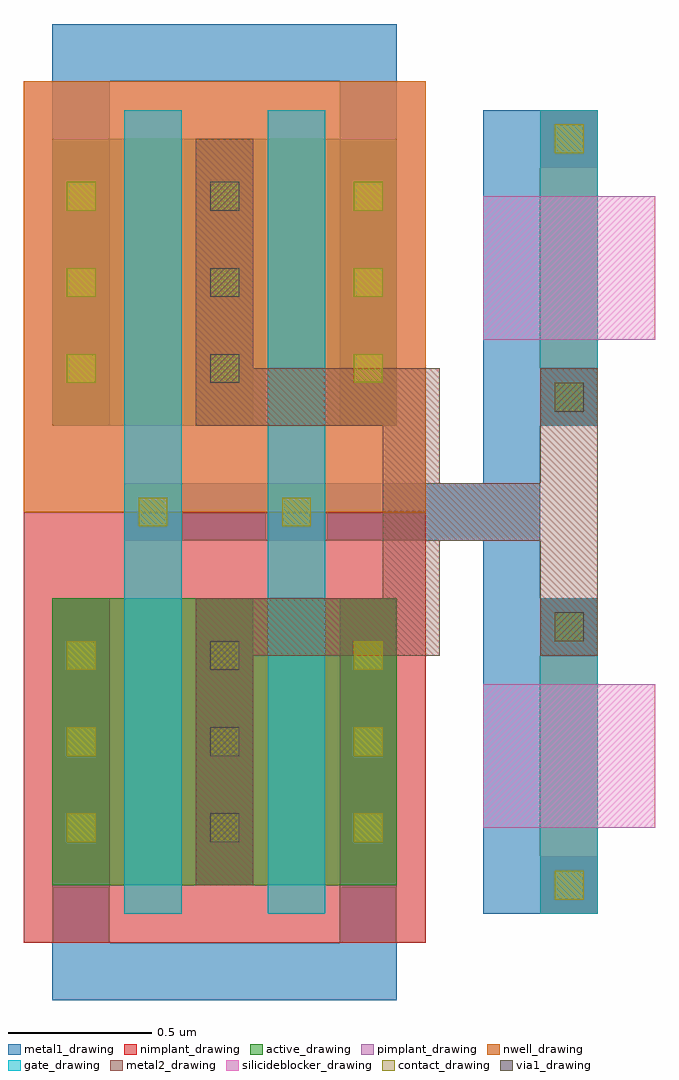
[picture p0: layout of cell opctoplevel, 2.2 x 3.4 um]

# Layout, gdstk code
import gdstk
lib = gdstk.Library(unit=1e-6, precision=1e-09)
def R(c, l, rs):  # rectangles x0, y0, x1, y1
    for r in rs: c.add(gdstk.rectangle(r[:2], r[2:], *l))
def A(c, l, x, y, w, h, nx, ny, dx, dy):  # array of equal rectangles
    R(c, l, [(x+i*dx, y+j*dy, x+i*dx+w, y+j*dy+h) for i in range(nx) for j in range(ny)])
def P(c, l, *ps):  # polygons
    for p in ps: c.add(gdstk.Polygon(p, *l))
active_drawing = (1, 0)
nwell_drawing = (3, 0)
pimplant_drawing = (4, 0)
nimplant_drawing = (5, 0)
gate_drawing = (6, 0)
contact_drawing = (7, 0)
metal1_drawing = (8, 0)
via1_drawing = (9, 0)
metal2_drawing = (10, 0)
silicideblocker_drawing = (28, 0)

opctoplevel = lib.new_cell('opctoplevel')
R(opctoplevel, active_drawing, [(-0.25,0,0.45,1), (0.25,0,0.95,1), (-0.25,1.6,0.45,2.6), (0.25,1.6,0.95,2.6)])
R(opctoplevel, nwell_drawing, [(-0.35,1.3,0.55,2.8), (0.15,1.3,1.05,2.8)])
R(opctoplevel, pimplant_drawing, [(-0.35,1.3,0.55,2.8), (0.15,1.3,1.05,2.8)])
R(opctoplevel, nimplant_drawing, [(-0.35,-0.2,0.55,1.3), (0.15,-0.2,1.05,1.3), (1.45,-0.1,1.65,1), (1.45,1.6,1.65,2.7)])
R(opctoplevel, gate_drawing, [(0,-0.1,0.2,1.4), (0.5,-0.1,0.7,1.4), (1.45,-0.1,1.65,1), (1.45,-0.1,1.65,0.1), (1.45,0.8,1.65,1), (0,1.3,0.2,2.7), (0.5,1.3,0.7,2.7), (1.45,1.6,1.65,2.7), (1.45,1.6,1.65,1.8), (1.45,2.5,1.65,2.7)])
A(opctoplevel, contact_drawing, -0.2, 0.15, 0.1, 0.1, 3, 3, 0.5, 0.3)
A(opctoplevel, contact_drawing, -0.2, 1.75, 0.1, 0.1, 3, 3, 0.5, 0.3)
R(opctoplevel, contact_drawing, [(1.5,-0.05,1.6,0.05), (1.5,0.85,1.6,0.95), (0.05,1.25,0.15,1.35), (0.55,1.25,0.65,1.35), (1.5,1.65,1.6,1.75), (1.5,2.55,1.6,2.65)])
A(opctoplevel, metal1_drawing, -0.25, 0, 0.2, 1, 3, 2, 0.5, 1.6)
R(opctoplevel, metal1_drawing, [(-0.25,-0.4,0.95,-0.2), (-0.25,-0.2,-0.05,0), (0.75,-0.2,0.95,0), (1.45,-0.1,1.65,0.1), (1.45,-0.1,1.65,0.1), (1.45,-0.1,1.65,0.1), (1.45,0.8,1.65,1), (1.45,0.8,1.65,1), (1.45,0.8,1.65,1), (0,1.2,0.2,1.4), (0,1.2,0.7,1.4), (0.5,1.2,0.7,1.4), (1.45,1.6,1.65,1.8), (1.45,1.6,1.65,1.8), (1.45,1.6,1.65,1.8), (1.45,2.5,1.65,2.7), (1.45,2.5,1.65,2.7), (1.45,2.5,1.65,2.7), (-0.25,2.6,-0.05,2.8), (0.75,2.6,0.95,2.8), (-0.25,2.8,0.95,3)])
P(opctoplevel, metal1_drawing, [(0.7,1.2),(1.45,1.2),(1.45,2.7),(1.25,2.7),(1.25,1.4),(0.7,1.4)],
  [(0.7,1.2),(1.25,1.2),(1.25,-0.1),(1.45,-0.1),(1.45,1.4),(0.7,1.4)])
A(opctoplevel, via1_drawing, 0.3, 0.15, 0.1, 0.1, 1, 3, 0, 0.3)
A(opctoplevel, via1_drawing, 0.3, 1.75, 0.1, 0.1, 1, 3, 0, 0.3)
R(opctoplevel, via1_drawing, [(1.5,0.85,1.6,0.95), (1.5,1.65,1.6,1.75)])
R(opctoplevel, metal2_drawing, [(0.25,0,0.45,1), (1.45,0.8,1.65,1), (1.45,1,1.65,1.6), (1.1,1.2,1.65,1.4), (0.25,1.6,0.45,2.6), (1.45,1.6,1.65,1.8)])
R(opctoplevel, silicideblocker_drawing, [(1.25,0.2,1.85,0.7), (1.25,1.9,1.85,2.4)])
opctoplevel.add(gdstk.FlexPath([(0.45,1.7),(1,1.7),(1,0.9),(0.45,0.9)], 0.2, ends="flush", simple_path=True, layer=10, datatype=0))  # metal2_drawing

lib.write_gds('opctoplevel.gds')
